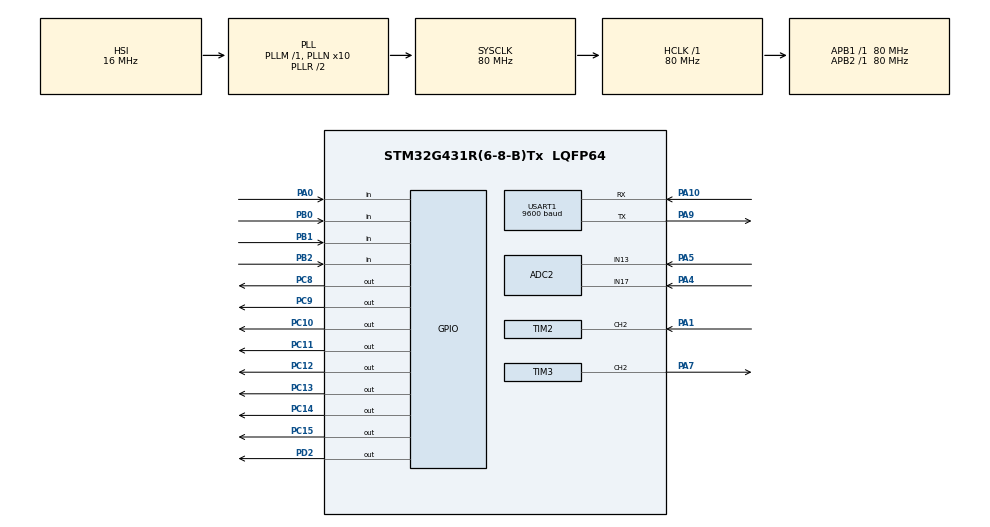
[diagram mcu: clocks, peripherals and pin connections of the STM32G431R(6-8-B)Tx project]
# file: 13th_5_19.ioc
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ADC2.Channel-0\#ChannelRegularConversion=ADC_CHANNEL_17
ADC2.NbrOfConversionFlag=1
ADC2.OffsetNumber-0\#ChannelRegularConversion=ADC_OFFSET_NONE
ADC2.Rank-0\#ChannelRegularConversion=1
ADC2.SamplingTime-0\#ChannelRegularConversion=ADC_SAMPLETIME_2CYCLES_5
Mcu.Family=STM32G4
Mcu.Name=STM32G431R(6-8-B)Tx
Mcu.Package=LQFP64
NVIC.ADC1_2_IRQn=true\:0\:0\:false\:false\:true\:true\:true\:true
NVIC.PriorityGroup=NVIC_PRIORITYGROUP_4
NVIC.TIM1_UP_TIM16_IRQn=true\:0\:0\:false\:false\:true\:true\:true\:true
NVIC.TIM2_IRQn=true\:0\:0\:false\:false\:true\:true\:true\:true
NVIC.USART1_IRQn=true\:0\:0\:false\:false\:true\:true\:true\:true
PA0.Signal=GPIO_Input
PA1.Signal=S_TIM2_CH2
PA10.Mode=Asynchronous
PA10.Signal=USART1_RX
PA4.Mode=IN17-Single-Ended
PA4.Signal=ADC2_IN17
PA5.Mode=IN13-Single-Ended
PA5.Signal=ADC2_IN13
PA7.Signal=S_TIM3_CH2
PA9.Mode=Asynchronous
PA9.Signal=USART1_TX
PB0.Signal=GPIO_Input
PB1.Signal=GPIO_Input
PB2.Signal=GPIO_Input
PC10.Signal=GPIO_Output
PC11.Signal=GPIO_Output
PC12.Signal=GPIO_Output
PC13.Signal=GPIO_Output
PC14-OSC32_IN.Signal=GPIO_Output
PC15-OSC32_OUT.Signal=GPIO_Output
PC8.Signal=GPIO_Output
PC9.Signal=GPIO_Output
PD2.Signal=GPIO_Output
PF0-OSC_IN.Mode=HSE-External-Oscillator
PF0-OSC_IN.Signal=RCC_OSC_IN
PF1-OSC_OUT.Mode=HSE-External-Oscillator
PF1-OSC_OUT.Signal=RCC_OSC_OUT
ProjectManager.HeapSize=0x200
ProjectManager.StackSize=0x400
ProjectManager.TargetToolchain=MDK-ARM V5.32
RCC.ADC12Freq_Value=80000000
RCC.AHBFreq_Value=80000000
RCC.APB1Freq_Value=80000000
RCC.APB1TimFreq_Value=80000000
RCC.APB2Freq_Value=80000000
RCC.APB2TimFreq_Value=80000000
RCC.CortexFreq_Value=80000000
RCC.EXTERNAL_CLOCK_VALUE=12288000
RCC.HCLKFreq_Value=80000000
RCC.HSE_VALUE=24000000
RCC.HSI48_VALUE=48000000
RCC.HSI_VALUE=16000000
RCC.LSE_VALUE=32768
RCC.PLLN=10
RCC.SYSCLKFreq_VALUE=80000000
RCC.SYSCLKSource=RCC_SYSCLKSOURCE_PLLCLK
RCC.USBFreq_Value=80000000
RCC.VCOOutputFreq_Value=160000000
SH.S_TIM2_CH2.0=TIM2_CH2,Input_Capture2_from_TI2
SH.S_TIM3_CH2.0=TIM3_CH2,PWM Generation2 CH2
TIM1.PeriodNoDither=9999
TIM1.Prescaler=79
TIM2.Channel-Input_Capture2_from_TI2=TIM_CHANNEL_2
TIM3.Channel-PWM\ Generation2\ CH2=TIM_CHANNEL_2
TIM3.PeriodNoDither=199
TIM3.Prescaler=99
USART1.BaudRate=9600
USART1.VirtualMode-Asynchronous=VM_ASYNC
VP_SYS_VS_DBSignals.Mode=DisableDeadBatterySignals
VP_TIM1_VS_ClockSourceINT.Mode=Internal
board=custom

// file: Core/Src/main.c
/* USER CODE BEGIN Header */
/**
  ******************************************************************************
  * @file           : main.c
  * @brief          : Main program body
  ******************************************************************************
  * @attention
  *
  * Copyright (c) 2023 STMicroelectronics.
  * All rights reserved.
  *
  * This software is licensed under terms that can be found in the LICENSE file
  * in the root directory of this software component.
  * If no LICENSE file comes with this software, it is provided AS-IS.
  *
  ******************************************************************************
  */
/* USER CODE END Header */
#include "main.h"
#include "adc.h"
#include "tim.h"
#include "usart.h"
#include "gpio.h"

/* USER CODE BEGIN Includes */

#include "stdio.h"
#include "string.h"
#include "i2c_hal.h"
#include "lcd.h"

/* USER CODE END Includes */

/* USER CODE BEGIN PM */

int
Key_presst[4]={0,0,0,0},// 按键按下时间
Frequ_pa1,//PA1频率
Frequ_pa7;//PA7频率

char
line[10][21];//LCD字符串 10行 20列

uint8_t
Key_state=0, //按键状态值
Frequ_x,Voltage_y, //频率X 电压Y参数
Flag_interface=0,//界面显示标志位
Flag_Voltagetest=0,//电压检测执行标志位
Flag_parametermode=0,//参数界面下 切换倍频 分频模式标志位 0-倍频 1-分频
Flag_recordingchannel=0,//记录界面下 切换不同测量通道标志位
Recording_channel[2]={4,5},//记录界面通道显示
Recording_n[2]={0,0}, //记录次数
Recording_firstmaxvoltage=1, //使得首次电压最小值为3.3
Flag_lcddisdirection=1, //1 正常显示  0 反向显示
Flag_uarttx=0,  //  串口输出标志位 1 PA1 2 PA4 3 PA5
Flag_ledchange=1, //led状态改变标志位
Flag_led4flash; //led4翻转标志位

float
Voltage_pa4,//PA4电压值
Voltage_pa5,//PA5电压值
Sum_average[2]={0,0}, //记录电压总值以计算平均值
Average_h[2]={0,0},//平均值H
Voltage_mint[2]={0,0},//电压最小值
Voltage_maxa[2]={0,0};//电压最大值

/* USER CODE END PM */

/* USER CODE BEGIN PV */

char Key_scan(void)
{
	if(HAL_GPIO_ReadPin(GPIOB,GPIO_PIN_0)==0)Key_presst[0]++;
	else if(HAL_GPIO_ReadPin(GPIOB,GPIO_PIN_0)==1 && Key_presst[0]>5){Key_presst[0]=0;return 1;}
	else if(HAL_GPIO_ReadPin(GPIOB,GPIO_PIN_1)==0)Key_presst[1]++;
	else if(HAL_GPIO_ReadPin(GPIOB,GPIO_PIN_1)==1 && Key_presst[1]>5){Key_presst[1]=0;return 2;}
	else if(HAL_GPIO_ReadPin(GPIOB,GPIO_PIN_2)==0)Key_presst[2]++;
	else if(HAL_GPIO_ReadPin(GPIOB,GPIO_PIN_2)==1 && Key_presst[2]>5){Key_presst[2]=0;return 3;}
	else if(HAL_GPIO_ReadPin(GPIOA,GPIO_PIN_0)==0)Key_presst[3]++;
	else if(HAL_GPIO_ReadPin(GPIOA,GPIO_PIN_0)==1 && Key_presst[3]>100){Key_presst[3]=0;return 5;}
	else if(HAL_GPIO_ReadPin(GPIOA,GPIO_PIN_0)==1 && Key_presst[3]>5){Key_presst[3]=0;return 4;}
	else {Key_presst[0]=0,Key_presst[1]=0,Key_presst[2]=0,Key_presst[3]=0;}
	return 0;
}

void Data_interface(void)
{
	sprintf(line[0],"                    ");
	sprintf(line[1],"        DATA        ");
	sprintf(line[2],"                    ");
	sprintf(line[3],"     PA4=%.2f       ",Voltage_pa4);
	sprintf(line[4],"     PA5=%.2f       ",Voltage_pa5);
	sprintf(line[5],"     PA1=%d          ",Frequ_pa1);
	sprintf(line[6],"                    ");
	sprintf(line[7],"                    ");
	sprintf(line[8],"                    ");
	sprintf(line[9],"                    ");
}

void Parameter_interface(void)
{
	sprintf(line[0],"                    ");
	sprintf(line[1],"        PARA        ");
	sprintf(line[2],"                    ");
	sprintf(line[3],"     X=%d            ",Frequ_x);
	sprintf(line[4],"     Y=%d            ",Voltage_y);
	sprintf(line[5],"                    ");
	sprintf(line[6],"                    ");
	sprintf(line[7],"                    ");
	sprintf(line[8],"                    ");
	sprintf(line[9],"                    ");
}

void Recording_interface(void)
{
	sprintf(line[0],"                    ");
	sprintf(line[1],"        REC-PA%d     ",Recording_channel[Flag_recordingchannel]);
	sprintf(line[2],"                    ");
	sprintf(line[3],"     N=%d            ",Recording_n[Flag_recordingchannel>0]);
	sprintf(line[4],"     A=%.2f            ",Voltage_maxa[Flag_recordingchannel>0]);
	sprintf(line[5],"     T=%.2f            ",Voltage_mint[Flag_recordingchannel>0]);
	sprintf(line[6],"     H=%.2f            ",Average_h[Flag_recordingchannel>0]);
	sprintf(line[7],"                    ");
	sprintf(line[8],"                    ");
	sprintf(line[9],"                    ");
}

float Get_adc(void)
{
	float adc;
	HAL_ADC_Start_IT(&hadc2);
	adc=HAL_ADC_GetValue(&hadc2);
	adc=adc*3.3f/4096;
	return adc;
}

void HAL_TIM_IC_CaptureCallback(TIM_HandleTypeDef *htim)
{
	static int Frequ;
	if(htim==&htim2)
	{
		Frequ=__HAL_TIM_GetCounter(&htim2);
		__HAL_TIM_SetCounter(&htim2,0);
		HAL_TIM_IC_Start_IT(&htim2,TIM_CHANNEL_2);
		Frequ_pa1=Frequ/1000000;
	}
}

void Lcd_dis(void)
{
	for(char i=0;i<10;i++)
	if(Flag_lcddisdirection)
	LCD_DisplayStringLine(i*24,(uint8_t *)line[i]);
	else
	LCD_DisplayStringLine_reverse(i*24,(uint8_t *)line[9-i]);
}

uint8_t At24c02_read(uint8_t address)
{
	uint8_t value;
	I2CStart();
	I2CSendByte(0xa0);
	I2CWaitAck();
	I2CSendByte(address);
	I2CWaitAck();
	I2CStart();
	I2CSendByte(0xa1);
	I2CWaitAck();
	value=I2CReceiveByte();
	I2CWaitAck();
	I2CStop();
	return value;
}

void At24c02_write(uint8_t address, uint8_t value)
{
	I2CStart();
	I2CSendByte(0xa0);
	I2CWaitAck();
	I2CSendByte(address);
	I2CWaitAck();
	I2CSendByte(value);
	I2CWaitAck();
	I2CStop();
}

void Uart_proc(void)
{
	static char txt[30];
	if(Flag_uarttx==1)sprintf(txt,"PA1:%d\r\n",Frequ_x);
	else if(Flag_uarttx==2)sprintf(txt,"PA4:%.2f\r\n",Voltage_pa4);
	else if(Flag_uarttx==3)sprintf(txt,"PA5:%.2f\r\n",Voltage_pa5);
	if(Flag_uarttx)HAL_UART_Transmit_IT(&huart1,(uint8_t *)txt,strlen(txt)),Flag_uarttx=0;
}

void Led_control(int n,_Bool state)
{
	HAL_GPIO_WritePin(GPIOC,0x01<<7<<n,(state)?GPIO_PIN_RESET:GPIO_PIN_SET);
	HAL_GPIO_WritePin(GPIOD,GPIO_PIN_2,GPIO_PIN_SET);
	HAL_GPIO_WritePin(GPIOD,GPIO_PIN_2,GPIO_PIN_RESET);
}

void Led_proc(void)
{
	if(Flag_ledchange)
	{
		Flag_ledchange=0;
		Led_control(1,Flag_parametermode);
		Led_control(2,!Flag_parametermode);
		Led_control(3,Flag_lcddisdirection);
		Led_control(4,Flag_led4flash);
		Led_control(5,0);
		Led_control(6,0);
		Led_control(7,0);
		Led_control(8,0);
	}
}

/* USER CODE END PV */

void SystemClock_Config(void);

/* USER CODE BEGIN 0 */

void HAL_TIM_PeriodElapsedCallback(TIM_HandleTypeDef *htim)
{
	static char Voltage_t=0,Led_flasht=0;
	if(htim==&htim1)
	{
		Key_state=Key_scan();
		if(Key_state==1)Flag_interface=++Flag_interface>2?0:Flag_interface;
		else if(Key_state==2)
		{
			Frequ_x=++Frequ_x>4?0:Frequ_x;
			At24c02_write(1,Frequ_x);
			for(int i=0;i<1000;i++)
			{

			}
		}
		else if(Key_state==3)
		{
			Voltage_y=++Voltage_y>4?0:Voltage_y;
			At24c02_write(0,Voltage_y);
			for(int i=0;i<1000;i++)
			{

			}
		}
		else if(Key_state==4 && Flag_interface==0)Flag_Voltagetest=1,Recording_n[0]++,Recording_n[1]++;
		else if(Key_state==4 && Flag_interface==1)Flag_parametermode=!Flag_parametermode,Flag_ledchange=1;
		else if(Key_state==4 && Flag_interface==2)Flag_recordingchannel=!Flag_recordingchannel;
		else if(Key_state==5 && Flag_interface==2)//置0
		{
			Recording_n[Flag_parametermode>0]=0;
			Voltage_maxa[Flag_parametermode>0]=0;
			Voltage_mint[Flag_parametermode>0]=0;
			Average_h[Flag_parametermode>0]=0;
		}

		if(Flag_parametermode) //倍频
		{
			Frequ_pa7=Frequ_pa1*Frequ_x;
			htim3.Instance->PSC=8000000/Frequ_pa7/200;
		}
		else //分频
		{
			Frequ_pa7=Frequ_pa1/Frequ_x;
			htim3.Instance->PSC=8000000/Frequ_pa7/200;
		}
		if(Flag_Voltagetest)  // 启动一次 电压采集
		{
			if(Recording_firstmaxvoltage)
			{
				Voltage_mint[0]=Voltage_mint[1]=3.3;
				Recording_firstmaxvoltage=0;
			}
			Voltage_t++;
			if(Voltage_t==5)
			{
				Voltage_pa4=Get_adc();
			}
			if(Voltage_t==10)
			{
				Voltage_t=0;
				Flag_Voltagetest=0;
				Voltage_pa5=Get_adc();

				Sum_average[0]+=Voltage_pa4;
				if(!Recording_n[0])Average_h[0]=0;
				else Average_h[0]=Sum_average[0]/Recording_n[0];

				Sum_average[1]+=Voltage_pa5;
				if(!Recording_n[1])Average_h[1]=0;
				else Average_h[1]=Sum_average[1]/Recording_n[1];

				if(Voltage_pa4>Voltage_maxa[0])Voltage_maxa[0]=Voltage_pa4;
				if(Voltage_pa4<Voltage_mint[0])Voltage_mint[0]=Voltage_pa4;

				if(Voltage_pa5>Voltage_maxa[1])Voltage_maxa[1]=Voltage_pa5;
				if(Voltage_pa5<Voltage_mint[1])Voltage_mint[1]=Voltage_pa5;
			}
		}
		Led_flasht++;
		if(Led_flasht==10)
		{
			if(Voltage_pa4>Voltage_pa5*Voltage_y)Flag_led4flash=!Flag_led4flash,Flag_ledchange=1;
			Led_flasht=0;
		}
	}
}

void HAL_UART_RxCpltCallback(UART_HandleTypeDef *huart)
{
	static uint8_t res,Rx_state=0;
	if(huart==&huart1)
	{
		HAL_UART_Receive_IT(&huart1,&res,1);
		if(res=='#')Flag_lcddisdirection=!Flag_lcddisdirection,Flag_ledchange=1;
		else
		{
			if(Rx_state==0 && res=='P')Rx_state=1;
			else if(Rx_state==1 && res=='A')Rx_state=2;
			else if(Rx_state==2 && res=='1')Flag_uarttx=1,Rx_state=0;
			else if(Rx_state==2 && res=='4')Flag_uarttx=2,Rx_state=0;
			else if(Rx_state==2 && res=='5')Flag_uarttx=3,Rx_state=0;
			else Rx_state=0;
		}
	}
}

/* USER CODE END 0 */

int main(void)
{

  /* MCU Configuration--------------------------------------------------------*/

  /* Reset of all peripherals, Initializes the Flash interface and the Systick. */
  HAL_Init();

  /* Configure the system clock */
  SystemClock_Config();

  /* Initialize all configured peripherals */
  MX_GPIO_Init();
  MX_ADC2_Init();
  MX_TIM2_Init();
  MX_TIM3_Init();
  MX_USART1_UART_Init();
  MX_TIM1_Init();
  /* USER CODE BEGIN 2 */
	I2CInit();
	LCD_Init();
	LCD_SetBackColor(Black);
	LCD_SetTextColor(White);
	HAL_UART_Receive_IT(&huart1,(uint8_t *)"c",1);//这里第一次接收 会被吞掉。。。怎么解决呢
	HAL_TIM_Base_Start_IT(&htim1);
	HAL_TIM_IC_Start_IT(&htim2,TIM_CHANNEL_2);
	HAL_TIM_PWM_Start_IT(&htim3,TIM_CHANNEL_2);
	__HAL_TIM_SetCompare(&htim3,TIM_CHANNEL_2,100);
	Frequ_x=At24c02_read(1);
	Voltage_y=At24c02_read(0);
  /* USER CODE END 2 */

  /* Infinite loop */
  while (1)
  {

    /* USER CODE BEGIN 3 */
		if(Flag_interface==0)Data_interface();
		else if(Flag_interface==1)Parameter_interface();
		else if(Flag_interface==2)Recording_interface();
		Uart_proc();
		Lcd_dis();
		Led_proc();
  }
  /* USER CODE END 3 */
}

void SystemClock_Config(void)
{
  RCC_OscInitTypeDef RCC_OscInitStruct = {0};
  RCC_ClkInitTypeDef RCC_ClkInitStruct = {0};

  /** Configure the main internal regulator output voltage
  */
  HAL_PWREx_ControlVoltageScaling(PWR_REGULATOR_VOLTAGE_SCALE1);

  /** Initializes the RCC Oscillators according to the specified parameters
  * in the RCC_OscInitTypeDef structure.
  */
  RCC_OscInitStruct.OscillatorType = RCC_OSCILLATORTYPE_HSI;
  RCC_OscInitStruct.HSIState = RCC_HSI_ON;
  RCC_OscInitStruct.HSICalibrationValue = RCC_HSICALIBRATION_DEFAULT;
  RCC_OscInitStruct.PLL.PLLState = RCC_PLL_ON;
  RCC_OscInitStruct.PLL.PLLSource = RCC_PLLSOURCE_HSI;
  RCC_OscInitStruct.PLL.PLLM = RCC_PLLM_DIV1;
  RCC_OscInitStruct.PLL.PLLN = 10;
  RCC_OscInitStruct.PLL.PLLP = RCC_PLLP_DIV2;
  RCC_OscInitStruct.PLL.PLLQ = RCC_PLLQ_DIV2;
  RCC_OscInitStruct.PLL.PLLR = RCC_PLLR_DIV2;
  if (HAL_RCC_OscConfig(&RCC_OscInitStruct) != HAL_OK)
  {
    Error_Handler();
  }

  /** Initializes the CPU, AHB and APB buses clocks
  */
  RCC_ClkInitStruct.ClockType = RCC_CLOCKTYPE_HCLK|RCC_CLOCKTYPE_SYSCLK
                              |RCC_CLOCKTYPE_PCLK1|RCC_CLOCKTYPE_PCLK2;
  RCC_ClkInitStruct.SYSCLKSource = RCC_SYSCLKSOURCE_PLLCLK;
  RCC_ClkInitStruct.AHBCLKDivider = RCC_SYSCLK_DIV1;
  RCC_ClkInitStruct.APB1CLKDivider = RCC_HCLK_DIV1;
  RCC_ClkInitStruct.APB2CLKDivider = RCC_HCLK_DIV1;

  if (HAL_RCC_ClockConfig(&RCC_ClkInitStruct, FLASH_LATENCY_2) != HAL_OK)
  {
    Error_Handler();
  }
}

void Error_Handler(void)
{
  __disable_irq();
  while (1)
  {
  }
}
